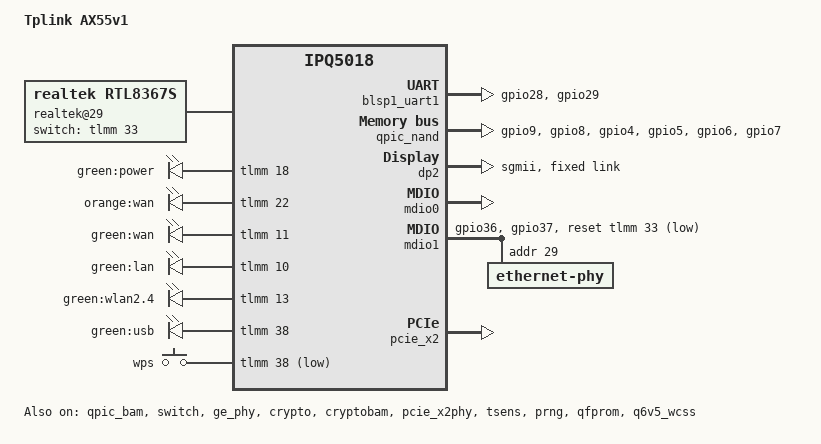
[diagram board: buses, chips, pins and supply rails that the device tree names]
// SPDX-License-Identifier: (GPL-2.0+)

/dts-v1/;

#include "ipq5018.dtsi"
#include "ipq5018-ess.dtsi"
#include <dt-bindings/gpio/gpio.h>
#include <dt-bindings/input/input.h>
#include <dt-bindings/leds/common.h>

/ {
	model = "Tplink AX55v1";
	compatible = "tplink,ax55v1", "qcom,ipq5018", "qcom,ipq5018-mp03.3";

	interrupt-parent = <&intc>;

	aliases {
		serial0 = &blsp1_uart1;
		//ethernet0 = &dp1;
		ethernet1 = &dp2;
		label-mac-device = &dp2;
	};

	chosen {
		bootargs-append = " root=/dev/ubiblock0_1 swiotlb=1 coherent_pool=2M";
		stdout-path = "serial0:115200n8";
	};

	reserved-memory {
		// Not sure why but without this, WiFi will crash
		tz: tz@4ac00000 {
			no-map;
			reg = <0x00 0x4ac00000 0x00 0x400000>;
		};

        tz_appps@4a400000 {
			no-map;
			reg = <0x0 0x4a400000 0x0 0x400000>;
		};

		nss@40000000 {
			no-map;
			reg = <0x00 0x40000000 0x00 0x1000000>;
		};

		q6_mem_regions: q6_mem_regions@4b000000 {
			no-map;
			// reg = <0x0 0x4b000000 0x0 0x3b00000>;
			reg = <0x0 0x4b000000 0x0 0x3000000>;
		};

        dma_pool1@50700000 {
			compatible = "shared-dma-pool";
			no-map;
			reg = <0x00 0x50700000 0x00 0x1000000>;
		};
	};

	thermal-zones {
		status = "ok";
	};

realtek@29{
			compatible = "realtek,rtl8367s";
			mii-bus = <&mdio1>;
			realtek,extif1 = <0 0 10 1 0 0 1 1 4>;
			switch = <&tlmm 33 0>;
			cpu-port = <6>;
			phy-addr = <29>;
            status = "ok";
		};
};

&tlmm {
	blsp_uart0_pins: blsp_uart0_pins {
		pins =
			"gpio28", /* RX */
			"gpio29"; /* TX */
		function = "blsp0_uart1";
		drive-strength = <8>;
		bias-disable;
	};

	i2c_pins: i2c_pins {
		i2c_scl {
			pins = "gpio25";
			function = "blsp2_i2c1";
			drive-strength = <8>;
			bias-disable;
		};

		i2c_sda {
			pins = "gpio26";
			function = "blsp2_i2c1";
			drive-strength = <8>;
			bias-disable;
		};
	};

	blsp0_spi_pins: blsp0_spi_pins {
		linux,phandle = <0x05>;
		phandle = <0x05>;

		mux {
			pins = "gpio10", "gpio11", "gpio12", "gpio13";
			function = "blsp0_spi";
			drive-strength = <2>;
			bias-disable;
		};
	};

	qpic_pins: qpic-state {
		clock-pins {
			pins = "gpio9";
			function = "qspi_clk";
			drive-strength = <8>;
			bias-disable;
		};

		cs-pins {
			pins = "gpio8";
			function = "qspi_cs";
			drive-strength = <8>;
			bias-disable;
		};

		data-pins {
			pins = "gpio4", "gpio5", "gpio6", "gpio7";
			function = "qspi_data";
			drive-strength = <8>;
			bias-disable;
		};
	};

	mdio1_pins: mdio_pinmux {
		mux_0 {
			pins = "gpio36";
			function = "mdc";
			drive-strength = <8>;
			bias-pull-up;
		};

		mux_1 {
			pins = "gpio37";
			function = "mdio";
			drive-strength = <8>;
			bias-pull-up;
		};
	};

	phy_led_pins: phy_led_pins {
		gephy_led_pin {
			pins = "gpio46";
			function = "led0";
			drive-strength = <8>;
			bias-pull-down;
		};
	};

	button_pins: button_pins {
		wps_button {
			pins = "gpio38";
			function = "gpio";
			drive-strength = <8>;
			bias-pull-up;
		};
	};
	audio_pins: audio_pinmux {
		mux_1 {
			pins = "gpio24";
			function = "audio_rxbclk";
			drive-strength = <8>;
			bias-pull-down;
		};

		mux_2 {
			pins = "gpio25";
			function = "audio_rxfsync";
			drive-strength = <8>;
			bias-pull-down;
		};

		mux_3 {
			pins = "gpio26";
			function = "audio_rxd";
			drive-strength = <8>;
			bias-pull-down;
		};

		mux_4 {
			pins = "gpio27";
			function = "audio_txmclk";
			drive-strength = <8>;
			bias-pull-down;
		};

		mux_5 {
			pins = "gpio28";
			function = "audio_txbclk";
			drive-strength = <8>;
			bias-pull-down;
		};

		mux_6 {
			pins = "gpio29";
			function = "audio_txfsync";
			drive-strength = <8>;
			bias-pull-down;
		};

		mux_7 {
			pins = "gpio30";
			function = "audio_txd";
			drive-strength = <8>;
			bias-pull-down;
		};
	};
};

&blsp1_uart1 {
	pinctrl-0 = <&blsp_uart0_pins>;
	pinctrl-names = "default";
	status = "okay";
};

&qpic_bam {
	status = "okay";
};

&qpic_nand {
	pinctrl-0 = <&qpic_pins>;
	pinctrl-names = "default";
	status = "ok";

	partitions {
		status = "disabled";
	};
};

nand@0 {
        compatible = "spi-nand";
		reg = <0>;
		#address-cells = <1>;
		#size-cells = <1>;

		nand-ecc-engine = <&qpic_nand>;

        nand-ecc-strength = <4>;
        nand-ecc-step-size = <512>;
        nand-bus-width = <8>;

        partitions {
            compatible = "fixed-partitions";
			#address-cells = <1>;
			#size-cells = <1>;

			partition@0 {
				label = "0:SBL1";
				reg = <0x00 0x80000>;
				read-only;
			};

            partition@80000 {
				label = "0:MIBIB";
				reg = <0x80000 0x80000>;
				read-only;
			};

			partition@100000 {
				label = "0:BOOTCONFIG";
				reg = <0x100000 0x40000>;
				read-only;
			};

            partition@140000 {
				label = "0:BOOTCONFIG1";
				reg = <0x140000 0x40000>;
				read-only;
			};

            partition@180000 {
				label = "0:QSEE";
				reg = <0x180000 0x100000>;
				read-only;
			};

            partition@280000 {
				label = "0:DEVCFG";
				reg = <0x280000 0x40000>;
				read-only;
			};

            partition@2c0000 {
				label = "0:CDT";
				reg = <0x2c0000 0x40000>;
			};

            partition@300000 {
				label = "0:APPSBLENV";
				reg = <0x300000 0x80000>;
				read-only;
			};

			partition@380000 {
					label = "0:APPSBL";
					reg = <0x380000 0x140000>;
					read-only;
				};

			partition@4c0000 {
				label = "0:ART";
				reg = <0x4c0000 0x100000>;
				read-only;
				
				nvmem-layout {
					compatible = "fixed-layout";
					#address-cells = <1>;
					#size-cells = <1>;

					macaddr_dp2: macaddr@0 {
						reg = <0x0 0x6>;
					};

				};
			};

            partition@5c0000 {
				label = "0:TRAINING";
				reg = <0x5c0000 0x80000>;
				read-only;
			};

            partition@640000 {
				label = "rootfs";
				reg = <0x640000 0x2a00000>;
			};

			partition@3040000 {
				label = "rootfs_1";
				reg = <0x3040000 0x2a00000>;
			};

			partition@5a40000 {
				label = "tp_data";
				reg = <0x5a40000 0x840000>;
			};

			partition@6280000 {
				label = "radio";
				reg = <0x6280000 0x440000>;
				read-only;
			};

			partition@66c0000 {
				label = "data";
				reg = <0x66c0000 0x80000>;
			};
        };
    };

&soc {
	leds {
		compatible = "gpio-leds";

		led_power {
			gpios = <&tlmm 18 GPIO_ACTIVE_HIGH>;
			label = "green:power";
			default-state = "on";
		};

		led_orange_wan {
			gpios = <&tlmm 22 GPIO_ACTIVE_HIGH>;
			label = "orange:wan";
		};

		led_green_wan {
			gpios = <&tlmm 11 GPIO_ACTIVE_HIGH>;
			label = "green:wan";
		};

		led_lan {
			gpios = <&tlmm 10 GPIO_ACTIVE_HIGH>;
			label = "green:lan";
		};

		led_wlan_2g {
			gpios = <&tlmm 13 GPIO_ACTIVE_HIGH>;
			label = "green:wlan2.4";
		};

		led_usb {
			gpios = <&tlmm 38 GPIO_ACTIVE_HIGH>;
			label = "green:usb";
		};
	};

	gpio_keys {
		compatible = "gpio-keys";
		pinctrl-0 = <&button_pins>;
		pinctrl-names = "default";

		button@1 {
			label = "wps";
			linux,code = <KEY_WPS_BUTTON>;
			gpios = <&tlmm 38 GPIO_ACTIVE_LOW>;
			linux,input-type = <1>;
			debounce-interval = <60>;
		};
	};

	qcom,test@0 {
			status = "ok";
		};
};

		// Dummy switch, to describe how the external ports connects to the MAC
		// For example, some chips have PSGMII ports which combine 5 MAC into
		// 1 external port.
		// For IPQ50xx, this is used to choose SGMII or SGMII-plus
&switch {
	status = "okay";

	switch_mac_mode = <MAC_MODE_SGMII_CHANNEL0>;

	qcom,port_phyinfo {
		// MAC0 -> GE Phy -> QCA8337 Phy4
		port@0 {
			port_id = <1>;
			mdiobus = <&mdio0>;
			phy_address = <7>;
			// status = "disabled";
		};

		// MAC1 ---SGMII---> QCA8337 SerDes
		port@1 {
			port_id = <2>;
			forced-speed = <2500>;
			forced-duplex = <1>;
		};
	};
};

// MAC0 -> GE Phy
//&dp1 {
//status = "okay";
//};


// MAC1 ---SGMII---> SerDes
&dp2 {
	status = "okay";
	phy-mode = "sgmii";
	nvmem-cells = <&macaddr_dp2>;
	nvmem-cell-names = "mac-address";

	fixed-link {
		speed = <1000>;
		full-duplex;
	};
};

// IPQ5018 GE Phy -> Phy4
&ge_phy {
	status = "okay";
};

&mdio0 {
	status = "ok";
};

&mdio1 {
	status = "okay";
	pinctrl-0 = <&mdio1_pins>;
	pinctrl-names = "default";
	reset-gpios = <&tlmm 33 GPIO_ACTIVE_LOW>;

		ethernet-phy@0 {
				reg = <0x1d>;
			};
};

&sleep_clk {
	clock-frequency = <32000>;
};

&xo_board_clk {
	clock-frequency = <24000000>;
};

&bluetooth {
	firmware-name = "qca/bt_fw_patch.mdt";
	status = "disabled";
};

&crypto {
	status = "okay";
};

&cryptobam {
	status = "okay";
};

&pcie_x2phy {
	status = "okay";
};

&pcie_x1 {
	status = "disabled";
	perst-gpio = <&tlmm 18 1>;
};

&pcie_x2 {
	status = "okay";

	perst-gpios = <&tlmm 15 GPIO_ACTIVE_LOW>;
};

&tsens {
	status = "okay";
};

&prng {
	status = "okay";
};

&qfprom {
	status = "okay";
};

&usb {
	qcom,select-utmi-as-pipe-clk;
	status = "disabled";
};

&usb_dwc {
	status = "disabled";
};

&usbphy0 {
	status = "disabled";
};

&usbphy1 {
	status = "disabled";
};

&q6v5_wcss {
	memory-region = <&q6_mem_regions>;

	firmware-name = "ath11k/IPQ5018/hw1.0/q6_fw.mdt",
					"ath11k/IPQ5018/hw1.0/m3_fw.mdt",
					"ath11k/qcn6122/hw1.0/m3_fw.mdt";

	qcom,bootargs_smem = <507>;
	boot-args = <0x01 0x04 0x02 0x0f 0x00 0x00>;

	status = "okay";

	// IPQ5018
	q6_wcss_pd1: pd-1 {
		resets =
			<&gcc GCC_WCSSAON_RESET>,
			<&gcc GCC_WCSS_BCR>,
			<&gcc GCC_CE_BCR>;
		reset-names =
			"wcss_aon_reset",
			"wcss_reset",
			"ce_reset";

		clocks =
			<&gcc GCC_WCSS_AHB_S_CLK>,
			<&gcc GCC_WCSS_ACMT_CLK>,
			<&gcc GCC_WCSS_AXI_M_CLK>;
		clock-names =
			"gcc_wcss_ahb_s_clk",
					"gcc_wcss_acmt_clk",
					"gcc_wcss_axi_m_clk";

		reg = <0x4ab000 0x20>;
		reg-names = "rmb";

		// qcom,halt-regs = <&tcsr_q6_block 0xa000 0xd000 0x0>;

		interrupts-extended =
			<&wcss_smp2p_in 8 0>,
			<&wcss_smp2p_in 9 0>,
			<&wcss_smp2p_in 12 0>,
			<&wcss_smp2p_in 11 0>;
		interrupt-names =
			"fatal",
			"ready",
			"spawn-ack",
			"stop-ack";

		qcom,smem-states =
			<&wcss_smp2p_out 8>,
			<&wcss_smp2p_out 9>,
			<&wcss_smp2p_out 10>;
		qcom,smem-state-names =
			"shutdown",
			"stop",
			"spawn";

		firmware-name = "ath11k/IPQ5018/hw1.0/q6_fw.mdt";
		// m3_firmware = "IPQ5018/m3_fw.mdt";
	};

	// QCN6102
	q6_wcss_pd2: pd-2 {
		interrupts-extended =
			<&wcss_smp2p_in 16 0>,
			<&wcss_smp2p_in 17 0>,
			<&wcss_smp2p_in 20 0>,
			<&wcss_smp2p_in 19 0>;
		interrupt-names =
			"fatal",
			"ready",
			"spawn-ack",
			"stop-ack";

		qcom,smem-states =
			<&wcss_smp2p_out 16>,
			<&wcss_smp2p_out 17>,
			<&wcss_smp2p_out 18>;
		qcom,smem-state-names =
			"shutdown",
			"stop",
			"spawn";

		firmware-name = "ath11k/IPQ5018/hw1.0/q6_fw.mdt";
		// m3_firmware = "qcn6122/m3_fw.mdt";
	};
};

&wifi0 {
	// IPQ5000
	qcom,rproc = <&q6_wcss_pd1>;

	// Be overridden by /etc/hotplug.d/firmware/10-ath11k-board_id
	// M79: 0x10
	// M81: 0x24
	//qcom,board_id = <0x24>;
	qcom,ath11k-calibration-variant = "TP-LINK-AX55-V1";
	// qcom,ath11k-fw-memory-mode = <0>;
	// qcom,bdf-addr = <0x4c400000>;
	// qcom,caldb-addr = <0x4d200000>;
	// qcom,m3-dump-addr = <0x4d400000>;

	qcom,ath11k-fw-memory-mode = <2>;
	qcom,bdf-addr = <0x4c400000>;

	status = "disabled";
};

&wifi1 {
	// QCN6102
	qcom,rproc = <&q6_wcss_pd2>;

	//qcom,board_id = <0x60>;
	qcom,ath11k-calibration-variant = "TP-LINK-AX55-V1";
	// qcom,ath11k-fw-memory-mode = <0>;
	// qcom,bdf-addr = <0x4d500000>;
	// qcom,caldb-addr = <0x4e500000>;
	// qcom,m3-dump-addr = <0x4ea00000>;

	qcom,ath11k-fw-memory-mode = <2>;
	qcom,bdf-addr = <0x4d200000>;
	qcom,m3-dump-addr = <0x4df00000>;

	status = "disabled";
};
